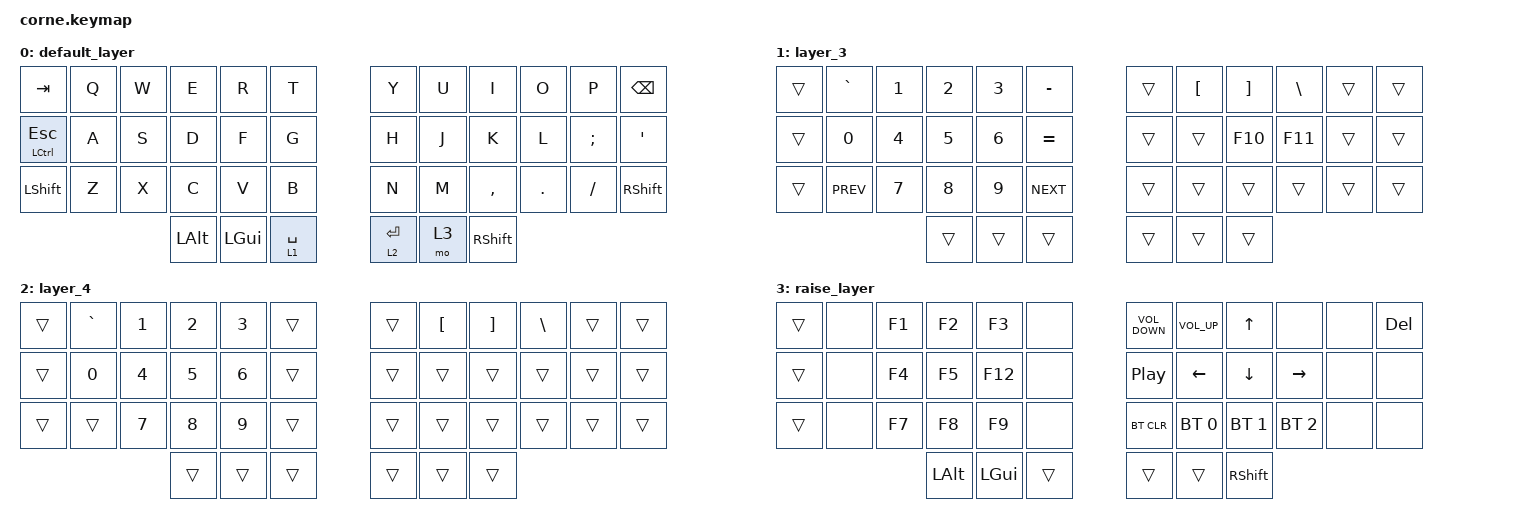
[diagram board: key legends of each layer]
/*
 * Copyright (c) 2020 The ZMK Contributors
 *
 * SPDX-License-Identifier: MIT
 */

#include <behaviors.dtsi>
#include <dt-bindings/zmk/bt.h>
#include <dt-bindings/zmk/keys.h>

#define DEFAULT 0
#define LOWER   1
#define RAISE   2
#define ADJUST  3

&lt {
};

/ {
    conditional_layers { compatible = "zmk,conditional-layers"; };

    combos {
        compatible = "zmk,combos";

        esc {
            bindings = <&kp ESCAPE>;
            key-positions = <15 16>;
        };

        enter {
            bindings = <&kp ENTER>;
            key-positions = <19 20>;
        };
    };

    keymap {
        compatible = "zmk,keymap";

        default_layer {
            // -----------------------------------------------------------------------------------------
            // |  TAB |  Q  |  W  |  E  |  R  |  T      |   |  Y      |  U   |  I  |  O  |  P  | BKSP |
            // | CTRL |  A  |  S  |  D  |  F  |  G      |   |  H      |  J   |  K  |  L  |  ;  |  '   |
            // | SHFT |  Z  |  X  |  C  |  V  |  B      |   |  N      |  M   |  ,  |  .  |  /  | SHFT |
            //                    | GUI | LWR |  SPC    |   | RGUI/ENT | RSE  | ALT |

            bindings = <
&kp TAB                  &kp Q  &kp W  &kp E         &kp R         &kp T          &kp Y        &kp U  &kp I            &kp O    &kp P     &kp BSPC
&mt LEFT_CONTROL ESCAPE  &kp A  &kp S  &kp D         &kp F         &kp G          &kp H        &kp J  &kp K            &kp L    &kp SEMI  &kp SQT
&kp LSHFT                &kp Z  &kp X  &kp C         &kp V         &kp B          &kp N        &kp M  &kp COMMA        &kp DOT  &kp FSLH  &kp RIGHT_SHIFT
                                       &kp LEFT_ALT  &kp LEFT_GUI  &lt 1 SPACE    &lt 2 ENTER  &mo 3  &kp RIGHT_SHIFT
            >;
        };

        layer_3 {
            bindings = <
&trans  &kp GRAVE     &kp NUMBER_1  &kp NUMBER_2  &kp NUMBER_3  &kp MINUS     &trans  &kp LEFT_BRACKET  &kp RIGHT_BRACKET  &kp BACKSLASH  &trans  &trans
&trans  &kp NUMBER_0  &kp NUMBER_4  &kp NUMBER_5  &kp NUMBER_6  &kp EQUAL     &trans  &trans            &kp F10            &kp F11        &trans  &trans
&trans  &kp C_PREV    &kp NUMBER_7  &kp NUMBER_8  &kp NUMBER_9  &kp C_NEXT    &trans  &trans            &trans             &trans         &trans  &trans
                                    &trans        &trans        &trans        &trans  &trans            &trans
            >;
        };

        layer_4 {
            bindings = <
&trans  &kp GRAVE  &kp N1  &kp N2  &kp N3  &trans    &trans  &kp LBKT  &kp RBKT  &kp BSLH  &trans  &trans
&trans  &kp N0     &kp N4  &kp N5  &kp N6  &trans    &trans  &trans    &trans    &trans    &trans  &trans
&trans  &trans     &kp N7  &kp N8  &kp N9  &trans    &trans  &trans    &trans    &trans    &trans  &trans
                           &trans  &trans  &trans    &trans  &trans    &trans
            >;
        };

        raise_layer {
            // -----------------------------------------------------------------------------------------
            // | ESC  |  !  |  @  |  #  |  $  |  %  |   |  ^  |  &  |  *  |  (  |  )  | BKSP |
            // | CTRL |     |     |     |     |     |   |  -  |  =  |  [  |  ]  |  \  |  `   |
            // | SHFT |     |     |     |     |     |   |  _  |  +  |  {  |  }  | "|" |  ~   |
            //                    | GUI |     | SPC |   | ENT |     | ALT |

            bindings = <
&trans  &none  &kp F1  &kp F2        &kp F3        &none     &kp C_VOLUME_DOWN  &kp C_VOLUME_UP  &kp UP_ARROW     &none         &none  &kp DEL
&trans  &none  &kp F4  &kp F5        &kp F12       &none     &kp C_PLAY_PAUSE   &kp LEFT_ARROW   &kp DOWN_ARROW   &kp RIGHT     &none  &none
&trans  &none  &kp F7  &kp F8        &kp F9        &none     &bt BT_CLR         &bt BT_SEL 0     &bt BT_SEL 1     &bt BT_SEL 2  &none  &none
                       &kp LEFT_ALT  &kp LEFT_GUI  &trans    &trans             &trans           &kp RIGHT_SHIFT
            >;
        };

        // -----------------------------------------------------------------------------------------
        // |  F1      |  F2 |  F3   |  F4        | F5   | F6  |   | F7  |  F8 |  F9 | F10  | F11 | F12    |
        // | bri up   |     | prev  | Play/Pause | next |     |   |     | MUT | Vo- | vol+ |     |        |
        // | bri down |     |       |            | BT1  | BT2 |   |     |     |     |      |     | BTCLR  |
        //                          |            | LWR  |     |   |     | RSE |     |
    };
};
